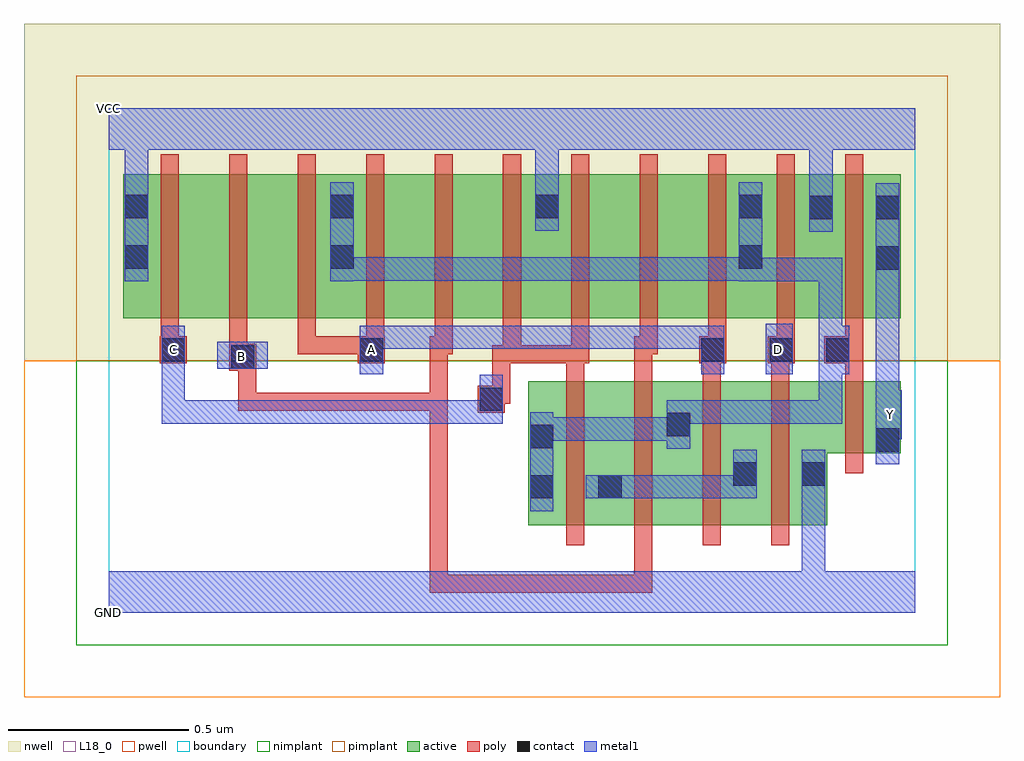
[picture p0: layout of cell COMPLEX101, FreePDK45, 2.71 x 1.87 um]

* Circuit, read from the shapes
.subckt COMPLEX101 A B C D GND VCC Y
M1 n1 C n2 VSUBS nfet w=0.4u l=0.05u
M2 n2 B n1 VSUBS nfet w=0.4u l=0.05u
M3 n1 A n2 VSUBS nfet w=0.4u l=0.05u
M4 GND D n1 VSUBS nfet w=0.4u l=0.05u
M5 Y n2 GND VSUBS nfet w=0.2u l=0.05u
M6 n3 C VCC n4 pfet w=0.4u l=0.05u
M7 n5 B n3 n4 pfet w=0.4u l=0.05u
M8 n2 A n5 n4 pfet w=0.4u l=0.05u
M9 n6 A n2 n4 pfet w=0.4u l=0.05u
M10 n7 B n6 n4 pfet w=0.4u l=0.05u
M11 VCC C n7 n4 pfet w=0.4u l=0.05u
M12 n8 C VCC n4 pfet w=0.4u l=0.05u
M13 n9 B n8 n4 pfet w=0.4u l=0.05u
M14 n2 A n9 n4 pfet w=0.4u l=0.05u
M15 VCC D n2 n4 pfet w=0.4u l=0.05u
M16 Y n2 VCC n4 pfet w=0.4u l=0.05u
.ends

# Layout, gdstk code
import gdstk
lib = gdstk.Library(unit=1e-6, precision=1e-09)
def R(c, l, rs):  # rectangles x0, y0, x1, y1
    for r in rs: c.add(gdstk.rectangle(r[:2], r[2:], *l))
def A(c, l, x, y, w, h, nx, ny, dx, dy):  # array of equal rectangles
    R(c, l, [(x+i*dx, y+j*dy, x+i*dx+w, y+j*dy+h) for i in range(nx) for j in range(ny)])
active = (1, 0)
pwell = (2, 0)
nwell = (3, 0)
nimplant = (4, 0)
pimplant = (5, 0)
poly = (9, 0)
contact = (10, 0)
metal1 = (11, 0)
L18_0 = (18, 0)
boundary = (235, 0)

complex101 = lib.new_cell('COMPLEX101')
A(complex101, active, 0.04, 0.817, 0.225, 0.4, 3, 1, 0.57, 0)
A(complex101, active, 0.265, 0.817, 0.19, 0.4, 3, 1, 0.57, 0)
R(complex101, active, [(1.165,0.242,1.43,0.642), (1.355,0.242,1.62,0.642), (1.545,0.242,1.805,0.642), (1.73,0.242,1.995,0.642), (1.92,0.242,1.995,0.597), (1.165,0.245,1.24,0.642), (1.355,0.245,1.43,0.537), (1.545,0.245,1.62,0.642), (1.73,0.245,1.805,0.492), (1.92,0.442,2.2,0.642), (2.125,0.442,2.2,0.642), (0.04,0.817,0.115,1.217), (0.455,0.817,0.685,1.217), (0.61,0.817,0.685,1.2), (1.025,0.817,1.255,1.217), (1.18,0.817,1.255,1.217), (1.595,0.817,1.82,1.217), (1.745,0.817,2.015,1.217), (1.745,0.817,1.82,1.2), (1.94,0.817,2.2,1.217), (2.125,0.817,2.2,1.165), (1.94,0.907,2.015,1.217)])
R(complex101, pwell, [(-0.235,-0.235,2.475,0.7)])
R(complex101, nwell, [(-0.235,0.7,2.475,1.635)])
R(complex101, nimplant, [(-0.09,-0.09,2.33,0.7)])
R(complex101, pimplant, [(-0.09,0.7,2.33,1.49)])
A(complex101, poly, 1.27, 0.187, 0.05, 0.51, 4, 1, 0.19, 0)
A(complex101, poly, 0.525, 0.717, 0.05, 0.095, 3, 1, 0.19, 0)
A(complex101, poly, 1.475, 0.717, 0.05, 0.095, 4, 1, 0.19, 0)
A(complex101, poly, 0.145, 0.762, 0.05, 0.51, 11, 1, 0.19, 0)
R(complex101, poly, [(0.892,0.055,0.942,0.105), (0.892,0.055,0.942,0.105), (0.892,0.055,0.942,0.105), (0.892,0.055,1.115,0.105), (0.892,0.055,0.942,0.61), (1.065,0.055,1.115,0.105), (1.065,0.055,1.115,0.105), (1.065,0.055,1.115,0.105), (1.065,0.055,1.115,0.105), (1.065,0.055,1.115,0.105), (1.065,0.055,1.277,0.105), (1.227,0.055,1.277,0.105), (1.227,0.055,1.277,0.105), (1.227,0.055,1.277,0.105), (1.227,0.055,1.51,0.105), (1.46,0.055,1.51,0.237), (1.46,0.055,1.51,0.105), (1.46,0.055,1.51,0.105), (1.46,0.055,1.51,0.105), (2.045,0.387,2.095,0.697), (1.025,0.555,1.1,0.63), (0.36,0.56,0.41,0.61), (0.36,0.56,0.41,0.61), (0.36,0.56,0.41,0.61), (0.36,0.56,0.41,0.722), (0.36,0.56,0.542,0.61), (0.492,0.56,0.542,0.61), (0.492,0.56,0.542,0.61), (0.492,0.56,0.542,0.61), (0.492,0.56,0.81,0.61), (0.76,0.56,0.81,0.61), (0.76,0.56,0.81,0.61), (0.76,0.56,0.81,0.61), (0.76,0.56,0.942,0.61), (0.892,0.56,0.942,0.61), (0.892,0.56,0.942,0.767), (1.05,0.58,1.115,0.63), (1.05,0.58,1.1,0.63), (1.065,0.58,1.115,0.742), (1.27,0.647,1.32,0.742), (1.46,0.647,1.51,0.767), (1.65,0.647,1.7,0.742), (1.84,0.647,1.89,0.742), (2.045,0.647,2.095,0.742), (0.335,0.672,0.41,0.747), (0.36,0.672,0.41,0.722), (0.36,0.672,0.41,0.722), (0.142,0.692,0.217,0.767), (0.692,0.692,0.767,0.767), (1.065,0.692,1.145,0.742), (1.095,0.692,1.145,0.812), (1.095,0.692,1.32,0.742), (1.27,0.692,1.335,0.742), (1.27,0.692,1.32,0.742), (1.27,0.692,1.32,0.742), (1.285,0.692,1.335,0.812), (1.64,0.692,1.715,0.767), (1.83,0.692,1.905,0.767), (1.987,0.692,2.095,0.767), (0.335,0.697,0.385,0.812), (0.145,0.717,0.195,0.812), (0.525,0.717,0.575,0.767), (0.525,0.717,0.575,0.767), (0.525,0.717,0.575,0.767), (0.525,0.717,0.742,0.767), (0.892,0.717,0.942,0.767), (0.892,0.717,0.942,0.767), (0.892,0.717,0.955,0.767), (1.46,0.717,1.525,0.767)])
A(complex101, contact, 0.045, 1.095, 0.065, 0.065, 3, 1, 0.57, 0)
R(complex101, contact, [(1.17,0.317,1.235,0.382), (1.36,0.317,1.425,0.382), (1.735,0.352,1.8,0.417), (1.925,0.352,1.99,0.417), (2.13,0.447,2.195,0.512), (1.17,0.457,1.235,0.522), (1.55,0.49,1.615,0.555), (1.03,0.56,1.095,0.625), (0.34,0.677,0.405,0.742), (0.147,0.697,0.212,0.762), (0.697,0.697,0.762,0.762), (1.645,0.697,1.71,0.762), (1.835,0.697,1.9,0.762), (1.992,0.697,2.057,0.762), (2.13,0.952,2.195,1.017), (0.045,0.955,0.11,1.02), (0.615,0.955,0.68,1.02), (1.75,0.955,1.815,1.02), (1.945,1.092,2.01,1.157), (2.13,1.092,2.195,1.157), (1.75,1.095,1.815,1.16)])
R(complex101, metal1, [(0,0,2.24,0.115), (1.925,0.05,1.99,0.115), (1.925,0.05,1.99,0.115), (1.925,0.05,1.99,0.382), (1.17,0.282,1.235,0.557), (1.325,0.317,1.46,0.382), (1.395,0.317,1.46,0.382), (1.395,0.317,1.46,0.382), (1.395,0.317,1.662,0.382), (1.597,0.317,1.662,0.382), (1.597,0.317,1.662,0.382), (1.597,0.317,1.662,0.382), (1.597,0.317,1.8,0.382), (1.735,0.317,1.8,0.452), (1.925,0.317,1.99,0.452), (2.13,0.412,2.195,0.547), (1.55,0.455,1.615,0.59), (1.17,0.477,1.235,0.542), (1.17,0.477,1.235,0.542), (1.17,0.477,1.477,0.542), (1.412,0.477,1.477,0.542), (1.412,0.477,1.477,0.542), (1.412,0.477,1.477,0.542), (1.412,0.477,1.615,0.542), (2.13,0.482,2.195,0.547), (2.13,0.482,2.202,0.617), (0.147,0.525,0.212,0.59), (0.147,0.525,0.35,0.59), (0.147,0.525,0.212,0.727), (0.285,0.525,0.35,0.59), (0.285,0.525,0.487,0.59), (0.422,0.525,0.487,0.59), (0.422,0.525,0.487,0.59), (0.422,0.525,0.487,0.59), (0.422,0.525,0.662,0.59), (0.597,0.525,0.662,0.59), (0.597,0.525,0.662,0.59), (0.597,0.525,0.662,0.59), (0.597,0.525,0.9,0.59), (0.835,0.525,0.9,0.59), (0.835,0.525,0.9,0.59), (0.835,0.525,0.9,0.59), (0.835,0.525,1.095,0.59), (1.03,0.525,1.095,0.59), (1.03,0.525,1.095,0.59), (1.03,0.525,1.095,0.59), (1.03,0.525,1.095,0.59), (1.03,0.525,1.095,0.66), (1.55,0.525,1.615,0.59), (1.55,0.525,1.615,0.59), (1.55,0.525,1.852,0.59), (1.787,0.525,1.852,0.59), (1.787,0.525,1.852,0.59), (1.787,0.525,1.852,0.59), (1.787,0.525,2.037,0.59), (1.972,0.525,2.037,0.59), (1.972,0.525,2.037,0.797), (2.13,0.552,2.195,0.982), (0.147,0.662,0.212,0.727), (0.147,0.662,0.212,0.727), (0.147,0.662,0.212,0.797), (0.697,0.662,0.762,0.797), (1.645,0.662,1.71,0.797), (1.825,0.662,1.9,0.802), (1.992,0.662,2.057,0.797), (0.302,0.677,0.442,0.752), (0.697,0.732,0.9,0.797), (0.835,0.732,0.9,0.797), (0.835,0.732,0.9,0.797), (0.835,0.732,0.9,0.797), (0.835,0.732,1.097,0.797), (1.032,0.732,1.097,0.797), (1.032,0.732,1.097,0.797), (1.032,0.732,1.097,0.797), (1.032,0.732,1.252,0.797), (1.187,0.732,1.252,0.797), (1.187,0.732,1.252,0.797), (1.187,0.732,1.252,0.797), (1.187,0.732,1.477,0.797), (1.412,0.732,1.477,0.797), (1.412,0.732,1.477,0.797), (1.412,0.732,1.477,0.797), (1.412,0.732,1.615,0.797), (1.55,0.732,1.615,0.797), (1.55,0.732,1.71,0.797), (1.972,0.732,2.037,0.797), (1.972,0.732,2.057,0.797), (1.972,0.732,2.037,0.985), (2.13,0.917,2.195,1.192), (0.045,0.92,0.11,1.195), (0.615,0.92,0.68,1.195), (1.75,0.92,1.815,1.195), (1.75,0.92,1.815,0.985), (1.75,0.92,1.815,0.985), (1.75,0.92,2.037,0.985), (1.972,0.92,2.037,0.985), (0.615,0.922,0.68,0.987), (0.615,0.922,0.68,0.987), (0.615,0.922,0.9,0.987), (0.835,0.922,0.9,0.987), (0.835,0.922,0.9,0.987), (0.835,0.922,0.9,0.987), (0.835,0.922,1.037,0.987), (0.972,0.922,1.037,0.987), (0.972,0.922,1.037,0.987), (0.972,0.922,1.037,0.987), (0.972,0.922,1.235,0.987), (1.17,0.922,1.235,0.987), (1.17,0.922,1.235,0.987), (1.17,0.922,1.235,0.987), (1.17,0.922,1.477,0.987), (1.412,0.922,1.477,0.987), (1.412,0.922,1.477,0.987), (1.412,0.922,1.477,0.987), (1.412,0.922,1.615,0.987), (1.55,0.922,1.615,0.987), (1.55,0.922,1.615,0.987), (1.55,0.922,1.615,0.987), (1.55,0.922,1.815,0.987), (1.945,1.057,2.01,1.192), (1.185,1.06,1.25,1.195), (1.945,1.127,2.01,1.35), (0.045,1.13,0.11,1.35), (1.185,1.13,1.25,1.35), (0,1.285,2.24,1.4)])
R(complex101, L18_0, [(0,0,2.24,0.115), (1.925,0.05,1.99,0.115), (1.925,0.05,1.99,0.115), (1.925,0.05,1.99,0.382), (1.925,0.317,1.99,0.452), (2.13,0.412,2.195,0.547), (2.13,0.482,2.195,0.547), (2.13,0.482,2.202,0.617), (2.137,0.517,2.202,0.582), (0.147,0.525,0.212,0.59), (0.147,0.525,0.212,0.727), (0.147,0.525,0.35,0.59), (0.285,0.525,0.35,0.59), (0.285,0.525,0.487,0.59), (0.422,0.525,0.487,0.59), (0.422,0.525,0.487,0.59), (0.422,0.525,0.487,0.59), (0.422,0.525,0.662,0.59), (0.597,0.525,0.662,0.59), (0.597,0.525,0.662,0.59), (0.597,0.525,0.662,0.59), (0.597,0.525,0.9,0.59), (0.835,0.525,0.9,0.59), (0.835,0.525,0.9,0.59), (0.835,0.525,0.9,0.59), (0.835,0.525,1.095,0.59), (1.03,0.525,1.095,0.66), (1.03,0.525,1.095,0.59), (1.03,0.525,1.095,0.59), (1.03,0.525,1.095,0.59), (1.03,0.525,1.095,0.59), (2.13,0.552,2.195,0.982), (0.147,0.662,0.212,0.797), (0.147,0.662,0.212,0.727), (0.147,0.662,0.212,0.727), (0.697,0.662,0.762,0.797), (1.645,0.662,1.71,0.797), (1.825,0.662,1.9,0.802), (0.302,0.677,0.442,0.752), (0.337,0.677,0.402,0.742), (0.147,0.697,0.212,0.762), (0.697,0.697,0.762,0.762), (1.827,0.697,1.892,0.762), (0.697,0.732,0.9,0.797), (0.835,0.732,0.9,0.797), (0.835,0.732,0.9,0.797), (0.835,0.732,0.9,0.797), (0.835,0.732,1.097,0.797), (1.032,0.732,1.097,0.797), (1.032,0.732,1.097,0.797), (1.032,0.732,1.097,0.797), (1.032,0.732,1.252,0.797), (1.187,0.732,1.252,0.797), (1.187,0.732,1.252,0.797), (1.187,0.732,1.252,0.797), (1.187,0.732,1.477,0.797), (1.412,0.732,1.477,0.797), (1.412,0.732,1.477,0.797), (1.412,0.732,1.477,0.797), (1.412,0.732,1.615,0.797), (1.55,0.732,1.615,0.797), (1.55,0.732,1.71,0.797), (2.13,0.917,2.195,1.192), (0.045,0.92,0.11,1.195), (1.945,1.057,2.01,1.192), (1.185,1.06,1.25,1.195), (1.945,1.127,2.01,1.35), (0.045,1.13,0.11,1.35), (1.185,1.13,1.25,1.35), (0,1.285,2.24,1.4)])
R(complex101, boundary, [(0,0,2.24,1.4)])
complex101.add(gdstk.Label('A', (0.73,0.73), layer=11, texttype=0))
complex101.add(gdstk.Label('B', (0.37,0.71), layer=11, texttype=0))
complex101.add(gdstk.Label('C', (0.18,0.73), layer=11, texttype=0))
complex101.add(gdstk.Label('D', (1.86,0.73), layer=11, texttype=0))
complex101.add(gdstk.Label('Y', (2.17,0.55), layer=11, texttype=0))
complex101.add(gdstk.Label('VCC', (0,1.4), layer=11, texttype=0))
complex101.add(gdstk.Label('GND', (0,0), layer=11, texttype=0))

lib.write_gds('COMPLEX101.gds')
